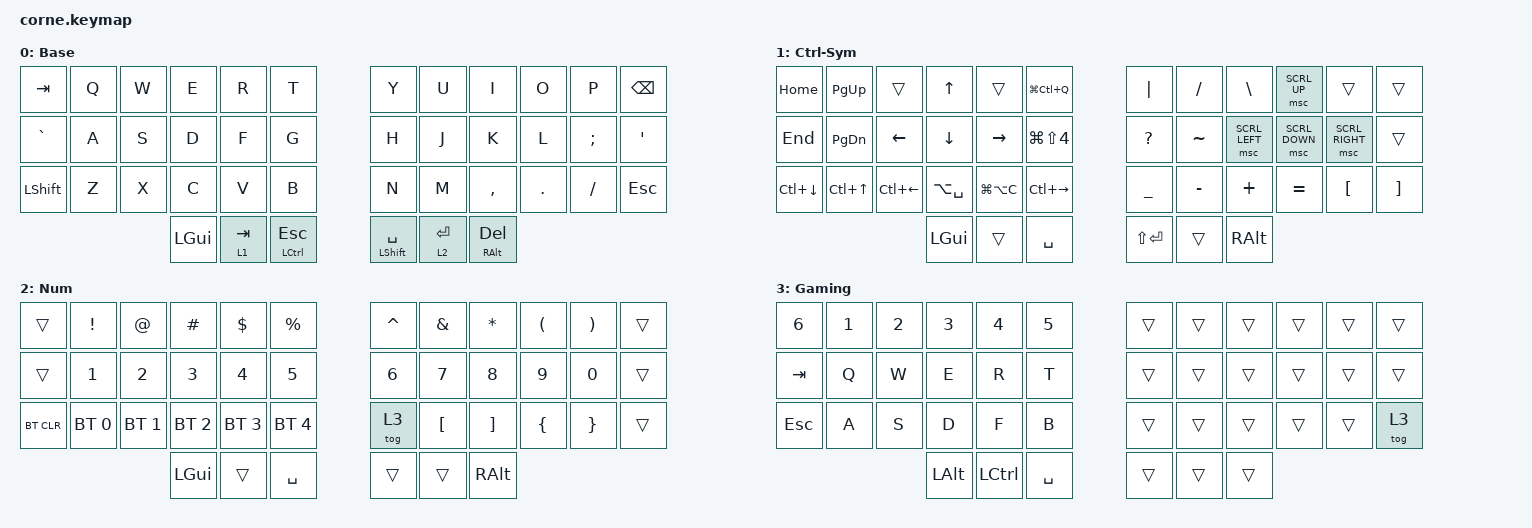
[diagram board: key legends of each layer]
/*
 * Copyright (c) 2020 The ZMK Contributors
 *
 * SPDX-License-Identifier: MIT
 */

#include <behaviors.dtsi>
#include <dt-bindings/zmk/keys.h>
#include <dt-bindings/zmk/bt.h>
#include <dt-bindings/zmk/mouse.h>

/ {
        behaviors {
                hm: homerow_mods {
                        compatible = "zmk,behavior-hold-tap";
                        #binding-cells = <2>;
                        tapping-term-ms = <250>;
                        quick-tap-ms = <175>;
                        flavor = "tap-preferred";
                        bindings = <&kp>, <&kp>;
                };
        };

        keymap {
                compatible = "zmk,keymap";

                layer_0_base {
// -----------------------------------------------------------------------------------------
// |  TAB |  Q  |  W  |  E  |  R  |  T  |   |  Y  |  U   |  I  |  O  |  P  | BKSP |
// |  `   |  A  |  S  |  D  |  F  |  G  |   |  H  |  J   |  K  |  L  |  ;  |  '   |
// | SHFT |  Z  |  X  |  C  |  V  |  B  |   |  N  |  M   |  ,  |  .  |  /  | ESC  |
//                    | GUI |LT1TB|CT/ESC|   |SH/SP|LT2RT|ALT/DEL|
                        display-name = "Base";
                        bindings = <
   &kp TAB   &kp Q &kp W &kp E &kp R &kp T        &kp Y         &kp U         &kp I     &kp O   &kp P    &kp BSPC
   &kp GRAVE &kp A &kp S &kp D &kp F &kp G        &kp H         &kp J         &kp K     &kp L   &kp SEMI &kp SQT
   &kp LSHFT &kp Z &kp X &kp C &kp V &kp B        &kp N         &kp M         &kp COMMA &kp DOT &kp FSLH &kp ESC
                         &kp LGUI     &lt 1 TAB    &mt LCTRL ESC   &hm LSHFT SPACE &lt 2 RET &mt RALT DEL
                        >;
                };
                layer_1_ctrl_sym {
// -----------------------------------------------------------------------------------------
// | HOME | PgUp|     | ↑   |     |⌘⌃Q  |   |  |  |  /  |  \  |SCL↑ |     |     |
// | END  | PgDn| ←   | ↓   | →   |⌘⇧4  |   |  ?  |  ~  |SCL← |SCL↓ |SCL→ |     |
// | ⌃↓   | ⌃↑  | ⌃←  |⌥SPC |⌘⌥C  | ⌃→  |   |  _  | -   | +   | =   | [   | ]   |
//                    | GUI |     | SPC |   |SH+RT|     | ALT |
                        display-name = "Ctrl-Sym";
                        bindings = <
   &kp HOME     &kp PG_UP  &trans      &kp UP        &trans        &kp LG(LC(Q))    &kp PIPE  &kp FSLH   &kp BSLH       &msc SCRL_UP   &trans          &trans
   &kp END      &kp PG_DN  &kp LEFT    &kp DOWN      &kp RIGHT     &kp LG(LS(N4))   &kp QMARK &kp TILDE  &msc SCRL_LEFT &msc SCRL_DOWN &msc SCRL_RIGHT &trans
   &kp LC(DOWN) &kp LC(UP) &kp LC(LEFT) &kp LA(SPACE) &kp LG(LA(C)) &kp LC(RIGHT)    &kp UNDER &kp MINUS  &kp PLUS       &kp EQUAL      &kp LBKT        &kp RBKT
                                       &kp LGUI      &trans        &kp SPACE     &kp LS(RET) &trans &kp RALT
                        >;
                };

                layer_2_nums {
// -----------------------------------------------------------------------------------------
// |      |  !  |  @  |  #  |  $  |  %  |   |  ^  |  &  |  *  |  (  |  )  |      |
// |      |  1  |  2  |  3  |  4  |  5  |   |  6  |  7  |  8  |  9  |  0  |      |
// |BTCLR |BT0  | BT1 | BT2 | BT3 | BT4 |   |TOG3 |  [  |  ]  |  {  |  }  |      |
//                    | GUI |     | SPC |   |SH/RT |     | ALT |
                        display-name = "Num";
                        bindings = <
   &trans     &kp EXCL     &kp AT       &kp HASH     &kp DLLR     &kp PRCNT        &kp CARET &kp AMPS  &kp ASTRK &kp LPAR &kp RPAR &trans
   &trans     &kp N1       &kp N2       &kp N3       &kp N4       &kp N5           &kp N6    &kp N7    &kp N8    &kp N9   &kp N0   &trans
   &bt BT_CLR &bt BT_SEL 0 &bt BT_SEL 1 &bt BT_SEL 2 &bt BT_SEL 3 &bt BT_SEL 4     &tog 3    &kp LBKT  &kp RBKT  &kp LBRC &kp RBRC &trans
                           &kp LGUI     &trans       &kp SPACE     &trans &trans &kp RALT
                        >;
                };

                layer_3_gaming {
// -----------------------------------------------------------------------------------------
// |  1   |  2  |  3  |  4  |  5  |  6  |   |     |     |     |     |     |     |
// | TAB  |  Q  |  W  |  E  |  R  |  T  |   |     |     |     |     |     |     |
// | CTRL |  A  |  S  |  D  |  F  |  B  |   |     |     |     |     |     |TOG3 |
//                    | ALT | SPC |CTRL |   |     |     |     |
                        display-name = "Gaming";
                        bindings = <
   &kp N6    &kp N1 &kp N2 &kp N3 &kp N4 &kp N5      &trans        &trans        &trans &trans &trans &trans
   &kp TAB   &kp Q  &kp W  &kp E  &kp R  &kp T       &trans        &trans        &trans &trans &trans &trans
   &kp ESC &kp A  &kp S  &kp D  &kp F  &kp B       &trans        &trans        &trans &trans &trans &tog 3
                           &kp LALT     &kp LCTRL    &kp SPACE     &trans        &trans &trans
                        >;
                };

        };
};
